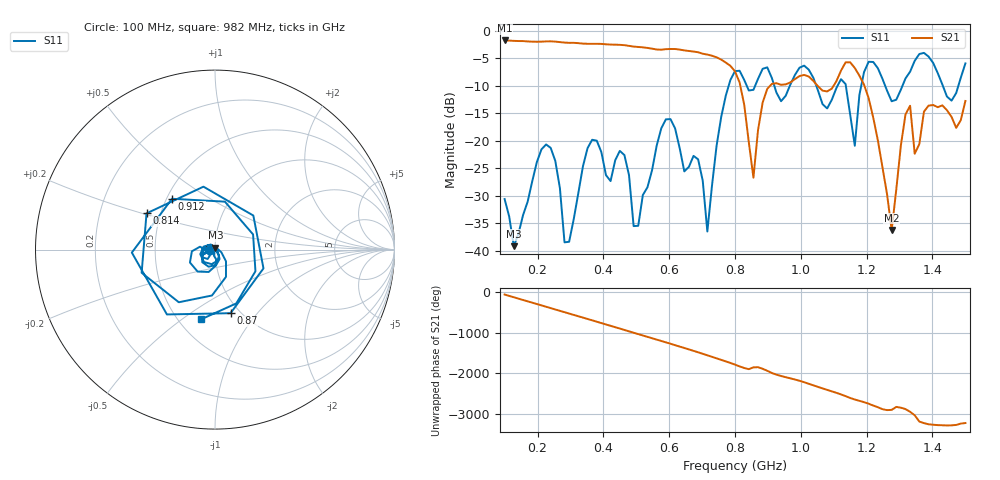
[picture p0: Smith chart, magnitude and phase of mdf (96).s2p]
! NanoVNA-App
! Date: 2025-09-26 09:40:40
! Start: 100MHz Stop: 1,5GHz Points: 101
! S-Parameter data: F S11 S21 S12 S22
# Hz S RI R 50
!  Frequency  S11_Real  S11_Imag  S21_Real  S21_Imag  S12_Real  S12_Imag  S22_Real  S22_Imag
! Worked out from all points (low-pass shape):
!   101 points, 100 MHz to 1.5 GHz, reference 50 ohm
!   highest |S21| = -1.79 dB at 100 MHz (marker M1); lowest = -36.3 dB at 1.276 GHz (marker M2)
!   |S21| within 3 dB of the highest: start of sweep to 740.9 MHz
!   lowest |S11| = -39.2 dB at 128 MHz (marker M3), VSWR 1.02, Z = 50.3 + j1.07 ohm
!   |S11| at or under -10 dB: start of sweep to 781 MHz; 1.047 GHz to 1.112 GHz (65.12 MHz wide, 6.03 % of centre); 1.256 GHz to 1.309 GHz (52.98 MHz wide, 4.13 % of centre) (the widest 3 of 7)
!   S12 and S22 are empty: the file has one direction only
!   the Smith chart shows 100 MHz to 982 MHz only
!   S11 on the Smith chart (normalised r, x): 100 MHz: 0.94, -0.01; 814 MHz: 0.42, +0.21; 870 MHz: 0.90, -0.74; 912 MHz: 0.53, +0.35; 982 MHz: 0.64, -0.59
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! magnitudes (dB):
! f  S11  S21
! 100 MHz  -30.6  -1.8
! 128 MHz  -39.2  -1.9
! 212 MHz  -21.6  -2.0
! 282 MHz  -38.5  -2.2
! 338 MHz  -24.7  -2.4
! 464 MHz  -22.6  -2.6
! 506 MHz  -35.5  -3.0
! 576 MHz  -17.8  -3.5
! 688 MHz  -23.4  -3.9
! 716 MHz  -36.5  -4.4
! 800 MHz  -7.4  -7.4
! 814 MHz  -7.3  -9.4
! 856 MHz  -10.8  -26.7
! 870 MHz  -8.8  -18.1
! 912 MHz  -8.6  -9.7
! 982 MHz  -8.1  -8.8
! 1.038 GHz  -8.6  -9.1
! 1.164 GHz  -20.9  -6.8
! 1.178 GHz  -11.7  -8.2
! 1.276 GHz  -12.8  -36.3
! 1.332 GHz  -7.5  -13.7
! 1.5 GHz  -6.0  -12.8
